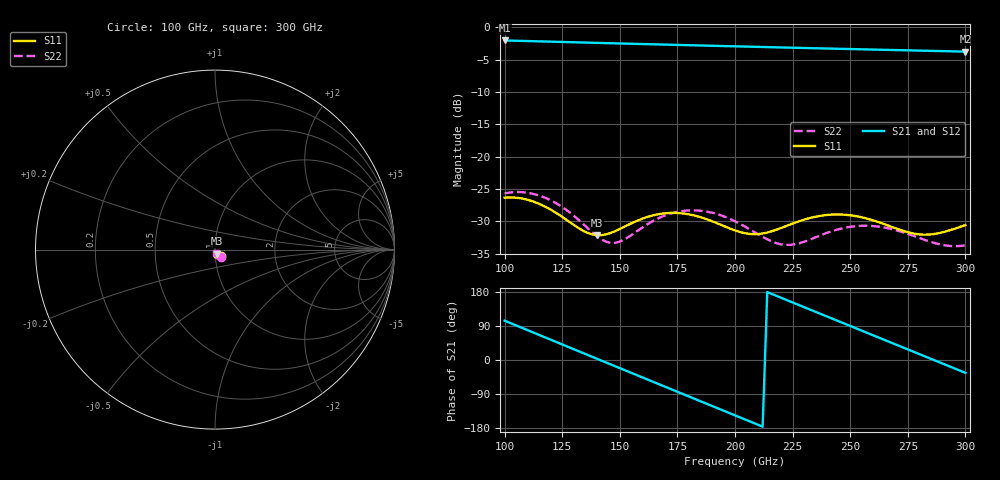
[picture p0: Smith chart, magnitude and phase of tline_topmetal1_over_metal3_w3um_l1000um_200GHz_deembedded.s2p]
! Created with skrf 2.2.0 (http://scikit-rf.org).
# GHz S DB R 50.0
! Port[1] = P1
! Port[2] = P2
!freq dBS11 angS11 dBS21 angS21 dBS12 angS12 dBS22 angS22
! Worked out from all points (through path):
!   101 points, 100 GHz to 300 GHz, reference 50 ohm
!   highest |S21| = -2.02 dB at 100 GHz (marker M1); lowest = -3.8 dB at 300 GHz (marker M2)
!   group delay of S21, straight-line fit = 6.91 ps
!   lowest |S11| = -32.2 dB at 140 GHz (marker M3), VSWR 1.05, Z = 51.1 - j2.24 ohm
!   |S11| at or under -10 dB: start of sweep to end of sweep
!   |S22| runs from -33.9 to -25.5 dB; largest |S21 - S12| = 1.3e-13
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100  -26.36 -48.1  -2.02 103.7  -2.02 103.7  -25.69 -52.1
108  -26.52 -59.6  -2.10 83.6  -2.10 83.6  -25.51 -65.5
116  -27.46 -69.4  -2.17 63.5  -2.17 63.5  -26.15 -78.3
126  -29.58 -75.6  -2.27 38.5  -2.27 38.5  -28.05 -90.9
134  -31.46 -71.5  -2.34 18.5  -2.34 18.5  -30.39 -94.4
140  -32.16 -62.7  -2.40 3.5  -2.40 3.5  -32.29 -89.6
146  -31.82 -54.1  -2.45 -11.5  -2.45 -11.5  -33.35 -77.4
154  -30.50 -49.7  -2.52 -31.5  -2.52 -31.5  -32.38 -62.1
168  -28.84 -57.4  -2.65 -66.4  -2.65 -66.4  -29.34 -62.8
176  -28.75 -64.8  -2.72 -86.4  -2.72 -86.4  -28.48 -71.0
184  -29.27 -71.3  -2.79 -106.3  -2.79 -106.3  -28.34 -80.6
200  -31.42 -73.3  -2.93 -146.1  -2.93 -146.1  -30.00 -96.5
208  -32.01 -66.5  -3.00 -166.0  -3.00 -166.0  -31.59 -98.7
216  -31.54 -59.5  -3.07 174.1  -3.07 174.1  -33.13 -93.9
224  -30.50 -57.4  -3.14 154.3  -3.14 154.3  -33.66 -83.5
234  -29.37 -61.5  -3.22 129.5  -3.22 129.5  -32.62 -74.7
242  -28.97 -67.5  -3.29 109.6  -3.29 109.6  -31.55 -74.8
250  -29.08 -73.9  -3.35 89.8  -3.35 89.8  -30.86 -78.9
258  -29.66 -79.1  -3.42 70.0  -3.42 70.0  -30.70 -84.5
268  -30.87 -81.3  -3.50 45.2  -3.50 45.2  -31.21 -90.9
284  -32.07 -71.1  -3.63 5.6  -3.63 5.6  -33.09 -91.8
300  -30.59 -63.3  -3.75 -33.9  -3.75 -33.9  -33.73 -78.5
